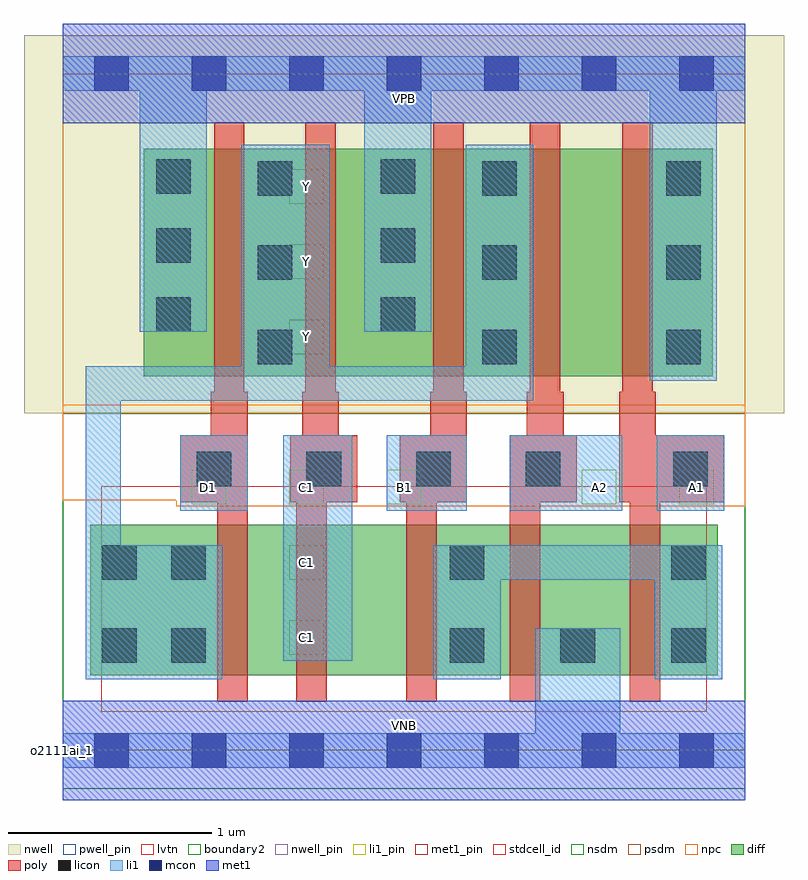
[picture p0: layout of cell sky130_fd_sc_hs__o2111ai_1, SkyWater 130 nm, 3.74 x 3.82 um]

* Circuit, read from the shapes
.subckt sky130_fd_sc_hs__o2111ai_1 A1 A2 B1 C1 D1 VGND VNB VPB VPWR Y
XM1 n1 D1 Y VNB sky130_fd_pr__nfet_01v8_lvt w=0.74 l=0.15
XM2 n2 C1 n1 VNB sky130_fd_pr__nfet_01v8_lvt w=0.74 l=0.15
XM3 n3 B1 n2 VNB sky130_fd_pr__nfet_01v8_lvt w=0.74 l=0.15
XM4 VGND A2 n3 VNB sky130_fd_pr__nfet_01v8_lvt w=0.74 l=0.15
XM5 n3 A1 VGND VNB sky130_fd_pr__nfet_01v8_lvt w=0.74 l=0.15
XM6 Y D1 VPWR VPB sky130_fd_pr__pfet_01v8 w=1.12 l=0.15
XM7 VPWR C1 Y VPB sky130_fd_pr__pfet_01v8 w=1.12 l=0.15
XM8 Y B1 VPWR VPB sky130_fd_pr__pfet_01v8 w=1.12 l=0.15
XM9 n4 A2 Y VPB sky130_fd_pr__pfet_01v8 w=1.12 l=0.15
XM10 VPWR A1 n4 VPB sky130_fd_pr__pfet_01v8 w=1.12 l=0.15
.ends

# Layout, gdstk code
import gdstk
lib = gdstk.Library(unit=1e-6, precision=1e-09)
def R(c, l, rs):  # rectangles x0, y0, x1, y1
    for r in rs: c.add(gdstk.rectangle(r[:2], r[2:], *l))
def A(c, l, x, y, w, h, nx, ny, dx, dy):  # array of equal rectangles
    R(c, l, [(x+i*dx, y+j*dy, x+i*dx+w, y+j*dy+h) for i in range(nx) for j in range(ny)])
def P(c, l, *ps):  # polygons
    for p in ps: c.add(gdstk.Polygon(p, *l))
nwell_pin = (64, 16)
nwell = (64, 20)
diff = (65, 20)
poly = (66, 20)
licon = (66, 44)
li1_pin = (67, 16)
li1 = (67, 20)
mcon = (67, 44)
met1_pin = (68, 16)
met1 = (68, 20)
stdcell_id = (81, 4)
nsdm = (93, 44)
psdm = (94, 20)
npc = (95, 20)
pwell_pin = (122, 16)
lvtn = (125, 44)
boundary2 = (236, 0)

sky130_fd_sc_hs__o2111ai = lib.new_cell('sky130_fd_sc_hs__o2111ai_1')
R(sky130_fd_sc_hs__o2111ai, nwell_pin, [(0,3.085,3.36,3.33)])
R(sky130_fd_sc_hs__o2111ai, nwell, [(-0.19,1.66,3.55,3.52)])
R(sky130_fd_sc_hs__o2111ai, diff, [(0.135,0.37,3.225,1.11), (0.4,1.84,3.2,2.96)])
P(sky130_fd_sc_hs__o2111ai, poly, [(0.91,1.765),(0.895,1.765),(0.895,3.09),(0.745,3.09),(0.745,1.765),(0.73,1.765),(0.73,1.55),(0.58,1.55),(0.58,1.22),(0.76,1.22),(0.76,0.24),(0.91,0.24)],
  [(1.45,1.55),(1.36,1.55),(1.36,1.765),(1.345,1.765),(1.345,3.09),(1.195,3.09),(1.195,1.765),(1.18,1.765),(1.18,1.55),(1.12,1.55),(1.12,1.22),(1.15,1.22),(1.15,0.24),(1.3,0.24),(1.3,1.22),(1.45,1.22)],
  [(1.99,1.765),(1.975,1.765),(1.975,3.09),(1.825,3.09),(1.825,1.765),(1.81,1.765),(1.81,1.55),(1.66,1.55),(1.66,1.22),(1.69,1.22),(1.69,0.24),(1.84,0.24),(1.84,1.22),(1.99,1.22)],
  [(2.53,1.55),(2.465,1.55),(2.465,1.765),(2.45,1.765),(2.45,3.09),(2.3,3.09),(2.3,1.765),(2.285,1.765),(2.285,1.55),(2.2,1.55),(2.2,0.24),(2.35,0.24),(2.35,1.22),(2.53,1.22)],
  [(3.255,1.55),(2.92,1.55),(2.92,1.765),(2.905,1.765),(2.905,3.09),(2.755,3.09),(2.755,1.765),(2.74,1.765),(2.74,1.22),(2.79,1.22),(2.79,0.24),(2.94,0.24),(2.94,1.22),(3.255,1.22)])
A(sky130_fd_sc_hs__o2111ai, licon, 1.905, 0.43, 0.17, 0.17, 3, 1, 0.545, 0)
A(sky130_fd_sc_hs__o2111ai, licon, 0.66, 1.3, 0.17, 0.17, 4, 1, 0.54, 0)
A(sky130_fd_sc_hs__o2111ai, licon, 0.96, 1.9, 0.17, 0.17, 1, 3, 0, 0.415)
A(sky130_fd_sc_hs__o2111ai, licon, 2.065, 1.9, 0.17, 0.17, 1, 3, 0, 0.415)
A(sky130_fd_sc_hs__o2111ai, licon, 2.97, 1.9, 0.17, 0.17, 1, 3, 0, 0.415)
A(sky130_fd_sc_hs__o2111ai, licon, 0.46, 2.06, 0.17, 0.17, 1, 3, 0, 0.34)
A(sky130_fd_sc_hs__o2111ai, licon, 1.565, 2.06, 0.17, 0.17, 1, 3, 0, 0.34)
R(sky130_fd_sc_hs__o2111ai, licon, [(0.195,0.43,0.365,0.6), (0.535,0.43,0.705,0.6), (0.195,0.84,0.365,1.01), (0.535,0.84,0.705,1.01), (1.905,0.84,2.075,1.01), (2.995,0.84,3.165,1.01), (3.005,1.3,3.175,1.47)])
A(sky130_fd_sc_hs__o2111ai, li1_pin, 0.635, 1.21, 0.17, 0.17, 3, 1, 0.48, 0)
A(sky130_fd_sc_hs__o2111ai, li1_pin, 1.115, 1.95, 0.17, 0.17, 1, 3, 0, 0.37)
R(sky130_fd_sc_hs__o2111ai, li1_pin, [(1.115,0.47,1.285,0.64), (1.115,0.84,1.285,1.01), (2.555,1.21,2.725,1.38), (3.035,1.21,3.205,1.38)])
R(sky130_fd_sc_hs__o2111ai, li1, [(1.085,0.44,1.425,1.55), (0.58,1.18,0.91,1.55), (1.595,1.18,1.99,1.55), (2.2,1.18,2.755,1.55), (2.925,1.18,3.255,1.55)])
P(sky130_fd_sc_hs__o2111ai, li1, [(0,3.245),(0,3.415),(3.36,3.415),(3.36,3.245),(3.22,3.245),(3.22,1.82),(2.89,1.82),(2.89,3.245),(1.815,3.245),(1.815,2.06),(1.485,2.06),(1.485,3.245),(0.71,3.245),(0.71,2.06),(0.38,2.06),(0.38,3.245)],
  [(0,-0.085),(0,0.085),(2.325,0.085),(2.325,0.6),(2.745,0.6),(2.745,0.085),(3.36,0.085),(3.36,-0.085)],
  [(1.315,1.89),(1.985,1.89),(1.985,2.98),(2.315,2.98),(2.315,1.72),(0.285,1.72),(0.285,1.01),(0.785,1.01),(0.785,0.35),(0.115,0.35),(0.115,1.89),(0.88,1.89),(0.88,2.98),(1.315,2.98)],
  [(2.915,0.84),(2.155,0.84),(2.155,0.35),(1.825,0.35),(1.825,1.01),(3.245,1.01),(3.245,0.35),(2.915,0.35)])
A(sky130_fd_sc_hs__o2111ai, mcon, 0.155, -0.085, 0.17, 0.17, 7, 2, 0.48, 3.33)
R(sky130_fd_sc_hs__o2111ai, met1_pin, [(0,0,3.36,0.245), (0,3.085,3.36,3.33)])
R(sky130_fd_sc_hs__o2111ai, met1, [(0,-0.245,3.36,0.245), (0,3.085,3.36,3.575)])
R(sky130_fd_sc_hs__o2111ai, stdcell_id, [(0,0,3.36,3.33)])
R(sky130_fd_sc_hs__o2111ai, nsdm, [(0,-0.19,3.36,1.66)])
R(sky130_fd_sc_hs__o2111ai, psdm, [(0,1.66,3.36,3.52)])
P(sky130_fd_sc_hs__o2111ai, npc, [(3.36,1.7),(0,1.7),(0,1.23),(0.56,1.23),(0.56,1.2),(3.36,1.2)])
R(sky130_fd_sc_hs__o2111ai, pwell_pin, [(0,0,3.36,0.245)])
R(sky130_fd_sc_hs__o2111ai, lvtn, [(0.19,0.19,3.17,1.3)])
R(sky130_fd_sc_hs__o2111ai, boundary2, [(0,0,3.36,3.33)])
sky130_fd_sc_hs__o2111ai.add(gdstk.Label('o2111ai_1', (0,0), layer=83, texttype=44))
sky130_fd_sc_hs__o2111ai.add(gdstk.Label('VNB', (1.68,0.123), layer=64, texttype=59))
sky130_fd_sc_hs__o2111ai.add(gdstk.Label('VPB', (1.68,3.208), layer=64, texttype=5))
sky130_fd_sc_hs__o2111ai.add(gdstk.Label('VPWR', (1.68,3.208), layer=68, texttype=5))
sky130_fd_sc_hs__o2111ai.add(gdstk.Label('VGND', (1.68,0.123), layer=68, texttype=5))
sky130_fd_sc_hs__o2111ai.add(gdstk.Label('Y', (1.2,2.035), layer=67, texttype=5))
sky130_fd_sc_hs__o2111ai.add(gdstk.Label('Y', (1.2,2.405), layer=67, texttype=5))
sky130_fd_sc_hs__o2111ai.add(gdstk.Label('Y', (1.2,2.775), layer=67, texttype=5))
sky130_fd_sc_hs__o2111ai.add(gdstk.Label('D1', (0.72,1.295), layer=67, texttype=5))
sky130_fd_sc_hs__o2111ai.add(gdstk.Label('C1', (1.2,0.555), layer=67, texttype=5))
sky130_fd_sc_hs__o2111ai.add(gdstk.Label('C1', (1.2,0.925), layer=67, texttype=5))
sky130_fd_sc_hs__o2111ai.add(gdstk.Label('C1', (1.2,1.295), layer=67, texttype=5))
sky130_fd_sc_hs__o2111ai.add(gdstk.Label('B1', (1.68,1.295), layer=67, texttype=5))
sky130_fd_sc_hs__o2111ai.add(gdstk.Label('A2', (2.64,1.295), layer=67, texttype=5))
sky130_fd_sc_hs__o2111ai.add(gdstk.Label('A1', (3.12,1.295), layer=67, texttype=5))

lib.write_gds('sky130_fd_sc_hs__o2111ai_1.gds')
